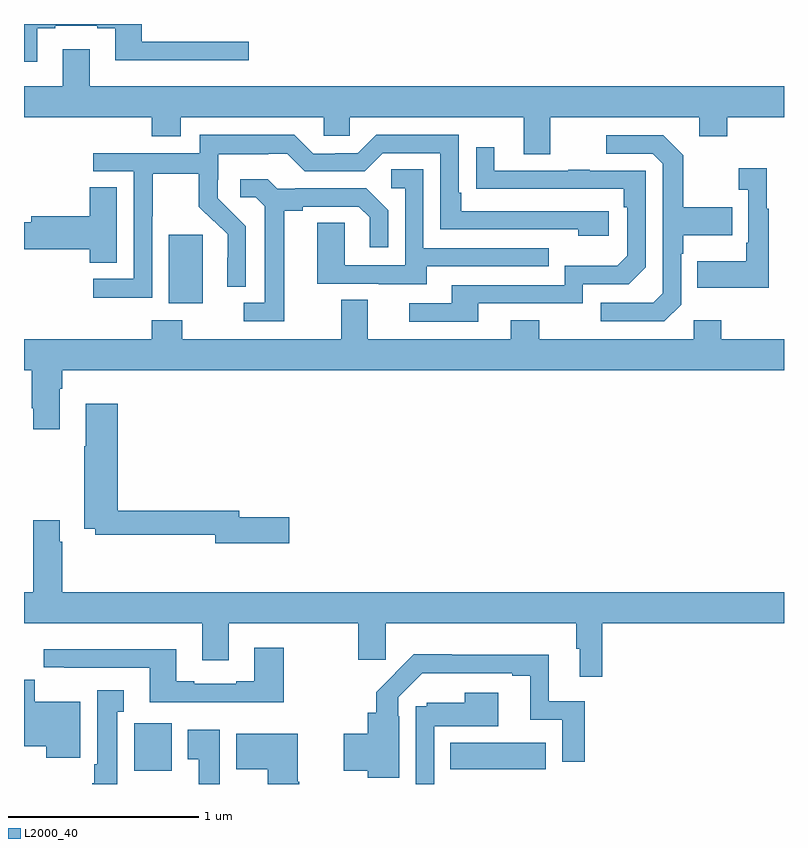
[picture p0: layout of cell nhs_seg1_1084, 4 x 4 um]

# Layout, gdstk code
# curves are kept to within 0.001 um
import gdstk
lib = gdstk.Library(unit=1e-6, precision=1e-09)
def R(c, l, rs):  # rectangles x0, y0, x1, y1
    for r in rs: c.add(gdstk.rectangle(r[:2], r[2:], *l))
def P(c, l, *ps):  # polygons
    for p in ps: c.add(gdstk.Polygon(p, *l))
L2000_40 = (2000, 40)

nhs_seg1_1084 = lib.new_cell('nhs_seg1_1084')
R(nhs_seg1_1084, L2000_40, [(169.581,572.27,169.777,572.52), (171.244,572.276,171.745,572.416), (169.763,574.73,169.942,575.091)])
P(nhs_seg1_1084, L2000_40, [(169.069,576.177),(169.165,576.177),(169.165,576.189),(169.385,576.189),(169.385,576.177),(169.481,576.177),(169.481,576.008),(170.182,576.008),(170.182,576.105),(169.621,576.105),(169.621,576.199),(169,576.199),(169,576),(169.069,576)],
  [(171.769,575.708),(172.553,575.708),(172.553,575.609),(172.701,575.609),(172.701,575.708),(173,575.708),(173,575.872),(169.345,575.872),(169.345,576.067),(169.205,576.067),(169.205,575.872),(169,575.872),(169,575.708),(169.673,575.708),(169.673,575.609),(169.825,575.609),(169.825,575.708),(170.577,575.708),(170.577,575.61),(170.715,575.61),(170.715,575.708),(171.629,575.708),(171.629,575.514),(171.769,575.514)],
  [(169.674,575.188),(169.677,575.188),(169.677,575.412),(169.921,575.412),(169.921,575.237),(169.998,575.16),(170.001,575.163),(170.072,575.093),(170.072,574.97),(170.07,574.97),(170.07,574.816),(170.166,574.816),(170.166,575.134),(170.02,575.282),(170.02,575.379),(170.022,575.379),(170.022,575.513),(170.285,575.513),(170.285,575.517),(170.385,575.517),(170.478,575.424),(170.793,575.424),(170.889,575.52),(171.192,575.52),(171.192,575.118),(171.917,575.118),(171.917,575.084),(172.078,575.084),(172.078,575.214),(171.301,575.214),(171.301,575.311),(171.288,575.311),(171.288,575.616),(170.853,575.616),(170.757,575.52),(170.639,575.52),(170.639,575.517),(170.523,575.517),(170.423,575.617),(169.926,575.617),(169.926,575.52),(169.365,575.52),(169.365,575.424),(169.578,575.424),(169.578,574.857),(169.365,574.857),(169.365,574.759),(169.674,574.759)],
  [(172.458,574.722),(172.458,574.991),(172.471,574.991),(172.471,575.087),(172.727,575.087),(172.727,575.235),(172.471,575.235),(172.471,575.507),(172.365,575.613),(172.065,575.613),(172.065,575.517),(172.308,575.517),(172.362,575.463),(172.362,574.782),(172.311,574.731),(172.035,574.731),(172.035,574.635),(172.371,574.635)],
  [(171.391,574.728),(171.942,574.728),(171.942,574.83),(172.182,574.83),(172.272,574.92),(172.272,575.427),(171.977,575.427),(171.977,575.432),(171.865,575.432),(171.865,575.427),(171.475,575.427),(171.475,575.551),(171.379,575.551),(171.379,575.332),(172.156,575.331),(172.156,575.234),(172.176,575.234),(172.176,574.98),(172.123,574.927),(171.846,574.927),(171.846,574.824),(171.251,574.824),(171.251,574.728),(171.027,574.728),(171.027,574.632),(171.391,574.632)],
  [(172.921,575.227),(172.909,575.227),(172.909,575.44),(172.761,575.44),(172.761,575.327),(172.812,575.327),(172.812,575.047),(172.8,575.047),(172.8,574.951),(172.543,574.951),(172.543,574.811),(172.921,574.811)],
  [(171.121,574.923),(171.761,574.923),(171.761,575.019),(171.102,575.019),(171.102,575.435),(170.934,575.435),(170.934,575.334),(171.006,575.334),(171.006,574.929),(170.688,574.929),(170.688,575.153),(170.543,575.153),(170.543,574.833),(170.867,574.833),(170.867,574.829),(171.121,574.829)],
  [(170.371,575.216),(170.467,575.216),(170.467,575.238),(170.762,575.238),(170.819,575.181),(170.819,575.025),(170.916,575.025),(170.916,575.218),(170.8,575.334),(170.428,575.334),(170.428,575.331),(170.334,575.331),(170.282,575.383),(170.139,575.383),(170.139,575.286),(170.22,575.286),(170.267,575.239),(170.267,574.731),(170.157,574.731),(170.157,574.635),(170.371,574.635)],
  [(169.489,575.339),(169.346,575.339),(169.346,575.186),(169.037,575.186),(169.037,575.156),(169,575.156),(169,575.014),(169.346,575.014),(169.346,574.942),(169.489,574.942)],
  [(169.189,574.28),(169.202,574.28),(169.202,574.376),(173,574.376),(173,574.54),(172.671,574.54),(172.671,574.639),(172.524,574.639),(172.524,574.54),(171.711,574.54),(171.711,574.639),(171.563,574.639),(171.563,574.54),(170.809,574.54),(170.809,574.748),(170.669,574.748),(170.669,574.54),(169.833,574.54),(169.833,574.639),(169.673,574.639),(169.673,574.54),(169,574.54),(169,574.376),(169.042,574.376),(169.042,574.177),(169.049,574.177),(169.049,574.065),(169.189,574.065)],
  [(170.395,573.602),(170.134,573.602),(170.134,573.638),(169.493,573.638),(169.493,574.201),(169.325,574.201),(169.325,573.977),(169.318,573.977),(169.318,573.542),(169.374,573.542),(169.374,573.51),(170.006,573.51),(170.006,573.467),(170.395,573.467)],
  [(172.043,573.044),(173,573.044),(173,573.208),(169.202,573.208),(169.202,573.473),(169.189,573.473),(169.189,573.586),(169.049,573.586),(169.049,573.208),(169,573.208),(169,573.044),(169.937,573.044),(169.937,572.85),(170.077,572.85),(170.077,573.044),(170.758,573.044),(170.758,572.853),(170.903,572.853),(170.903,573.044),(171.907,573.044),(171.907,572.912),(171.926,572.912),(171.926,572.763),(172.043,572.763)],
  [(170.366,572.917),(170.213,572.917),(170.213,572.74),(170.117,572.74),(170.117,572.727),(169.897,572.727),(169.897,572.74),(169.801,572.74),(169.801,572.908),(169.104,572.908),(169.104,572.813),(169.213,572.813),(169.213,572.811),(169.661,572.811),(169.661,572.63),(170.366,572.63)],
  [(170.974,572.555),(170.97,572.555),(170.97,572.655),(171.096,572.781),(171.569,572.781),(171.569,572.769),(171.665,572.769),(171.665,572.538),(171.834,572.538),(171.834,572.316),(171.95,572.316),(171.95,572.634),(171.763,572.634),(171.763,572.878),(171.251,572.878),(171.251,572.881),(171.052,572.881),(170.855,572.683),(170.855,572.575),(170.809,572.575),(170.809,572.464),(170.684,572.464),(170.684,572.27),(170.809,572.27),(170.809,572.231),(170.974,572.231)],
  [(169.297,572.632),(169.057,572.632),(169.057,572.748),(169,572.748),(169,572.399),(169.118,572.399),(169.118,572.336),(169.297,572.336)],
  [(169.492,572.579),(169.525,572.579),(169.525,572.692),(169.385,572.692),(169.385,572.302),(169.37,572.302),(169.37,572.202),(169.358,572.202),(169.358,572.199),(169.492,572.199)],
  [(171.159,572.504),(171.496,572.504),(171.496,572.68),(171.32,572.68),(171.32,572.626),(171.12,572.626),(171.12,572.607),(171.063,572.607),(171.063,572.199),(171.159,572.199)],
  [(170.029,572.485),(169.862,572.485),(169.862,572.329),(169.919,572.329),(169.919,572.199),(170.029,572.199)],
  [(170.448,572.212),(170.44,572.212),(170.44,572.464),(170.117,572.464),(170.117,572.276),(170.282,572.276),(170.282,572.199),(170.448,572.199)])

lib.write_gds('nhs_seg1_1084.gds')
